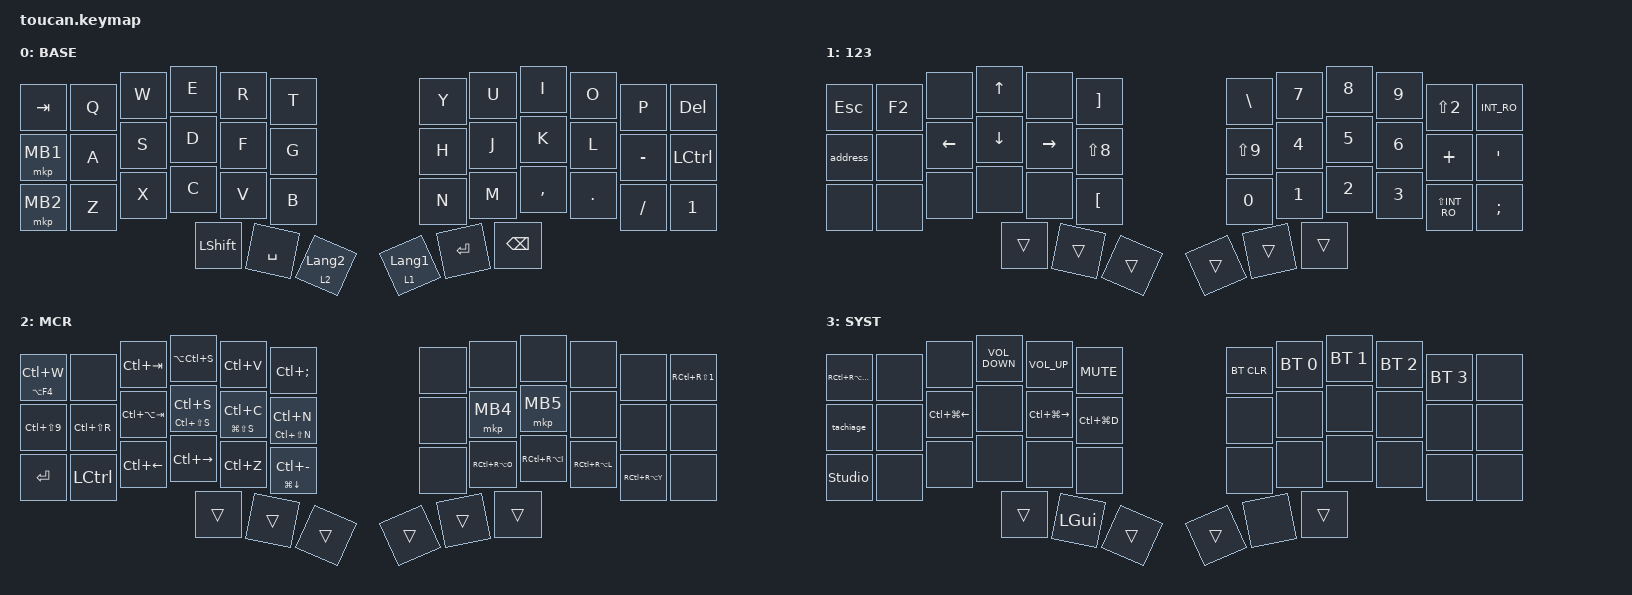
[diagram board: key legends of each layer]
#include <behaviors.dtsi>
#include <dt-bindings/zmk/bt.h>
#include <dt-bindings/zmk/keys.h>
#include <dt-bindings/zmk/pointing.h>

#define BASE 0
#define NAV  1
#define SYM  2
#define ADJ  3

/ {
    conditional_layers {
        compatible = "zmk,conditional-layers";

        sys {
            if-layers = <1 2>;
            then-layer = <3>;
        };
    };

    macros {
        tachiage: tachiage {
            compatible = "zmk,behavior-macro";
            #binding-cells = <0>;
            bindings = <&kp LC(LA(M))>, <&macro_wait_time 500>, <&kp LC(LA(W))>;

            label = "TACHIAGE";
        };

        address: address {
            compatible = "zmk,behavior-macro";
            #binding-cells = <0>;
            bindings = <&kp O &kp G &kp A &kp S &kp H &kp I &kp R &kp O &kp LEFT_BRACKET &kp S &kp Q &kp U &kp A &kp R &kp E &kp MINUS &kp E &kp N &kp I &kp X &kp DOT &kp C &kp O &kp M>;
            label = "ADDRESS";
        };
    };

    keymap {
        compatible = "zmk,keymap";

        base {
            display-name = "BASE";
            bindings = <
&kp TAB  &kp Q  &kp W  &kp E  &kp R  &kp T  &kp Y  &kp U  &kp I  &kp O  &kp P  &kp DEL  &mkp MB1  &kp A  &kp S  &kp D  &kp F  &kp G  &kp H  &kp J  &kp K  &kp L  &kp MINUS  &kp LEFT_CONTROL  &mkp MB2  &kp Z  &kp X  &kp C  &kp V  &kp B  &kp N  &kp M  &kp COMMA  &kp DOT  &kp SLASH  &kp NUMBER_1  &kp LEFT_SHIFT  &kp SPACE  &lt 2 LANGUAGE_2  &lt 1 LANGUAGE_1  &kp ENTER  &kp BACKSPACE
            >;
        };

        nav {
            display-name = "123";
            bindings = <
&kp ESCAPE  &kp F2  &none  &kp UP_ARROW  &none  &kp RIGHT_BRACKET  &kp BACKSLASH  &kp N7  &kp N8  &kp N9  &kp LS(NUMBER_2)  &kp INT_RO  &address  &none  &kp LEFT_ARROW  &kp DOWN  &kp RIGHT_ARROW  &kp LS(N8)  &kp LS(N9)  &kp NUMBER_4  &kp N5  &kp NUMBER_6  &kp PLUS  &kp APOS  &none  &none  &none  &none  &none  &kp LEFT_BRACKET  &kp NUMBER_0  &kp NUMBER_1  &kp NUMBER_2  &kp NUMBER_3  &kp LS(INT_RO)  &kp SEMI  &trans  &trans  &trans  &trans  &trans  &trans
            >;
        };

        mcr {
            display-name = "MCR";
            bindings = <
&mt LA(F4) LC(W)  &none  &kp LC(TAB)  &kp LA(LC(S))  &kp LC(V)  &kp LC(SEMI)  &none  &none  &none  &none  &none  &kp RC(RS(NUMBER_1))  &kp LC(LS(N9))  &kp LC(LS(R))  &kp LC(LA(TAB))  &mt LC(LS(S)) LC(S)  &mt LG(LS(S)) LC(C)  &mt LC(LS(N)) LC(N)  &none  &mkp MB4  &mkp MB5  &none  &none  &none  &kp ENTER  &kp LEFT_CONTROL  &kp LC(LEFT_ARROW)  &kp LC(RIGHT)  &kp LC(Z)  &mt LG(DOWN) LC(MINUS)  &none  &kp RC(RA(O))  &kp RC(RA(I))  &kp RC(RA(L))  &kp RC(RA(Y))  &none  &trans  &trans  &trans  &trans  &trans  &trans
            >;
        };

        sys {
            display-name = "SYST";
            bindings = <
&kp RC(RA(DEL))  &none  &none  &kp C_VOLUME_DOWN  &kp C_VOL_UP  &kp C_MUTE  &bt BT_CLR  &bt BT_SEL 0  &bt BT_SEL 1  &bt BT_SEL 2  &bt BT_SEL 3  &none  &tachiage  &none  &kp LC(LG(LEFT))  &none  &kp LC(LG(RIGHT))  &kp LC(LG(D))  &none  &none  &none  &none  &none  &none  &studio_unlock  &none  &none  &none  &none  &none  &none  &none  &none  &none  &none  &none  &trans  &kp LEFT_GUI  &trans  &trans  &none  &trans
            >;
        };

        extra_1 { status = "reserved"; };

        extra_2 { status = "reserved"; };

        extra_3 { status = "reserved"; };
    };
};
